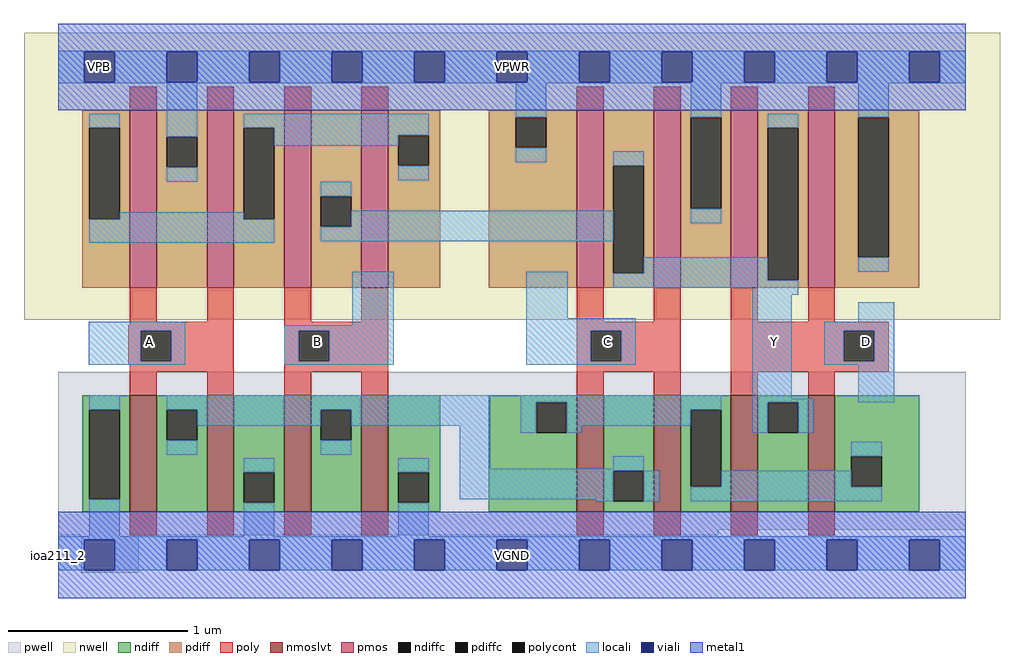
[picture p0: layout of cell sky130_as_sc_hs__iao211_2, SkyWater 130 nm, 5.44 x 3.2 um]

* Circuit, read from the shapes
.subckt sky130_as_sc_hs__iao211_2 VNB VPB VPWR VGND A B C D Y
XM1 n1 A VGND VNB sky130_fd_pr__nfet_01v8_lvt w=0.65 l=0.15 m=2
XM2 n1 B VGND VNB sky130_fd_pr__nfet_01v8_lvt w=0.65 l=0.15 m=2
XM3 n1 C n2 VNB sky130_fd_pr__nfet_01v8_lvt w=0.65 l=0.15 m=2
XM4 Y D n2 VNB sky130_fd_pr__nfet_01v8_lvt w=0.65 l=0.15 m=2
XM5 VPWR A n3 VPB sky130_fd_pr__pfet_01v8 w=0.99 l=0.15 m=2
XM6 Y B n3 VPB sky130_fd_pr__pfet_01v8 w=0.99 l=0.15 m=2
XM7 Y C VPWR VPB sky130_fd_pr__pfet_01v8 w=0.99 l=0.15 m=2
XM8 Y D VPWR VPB sky130_fd_pr__pfet_01v8 w=0.99 l=0.15 m=2
.ends

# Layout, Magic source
magic
tech sky130A
magscale 1 2
<< nwell >>
rect -38 262 1050 582
<< pwell >>
rect 0 28 1012 204
rect 0 22 736 28
rect 750 22 780 28
rect 836 22 866 28
rect 26 -20 90 22
<< pmos >>
rect 80 298 110 496
rect 166 298 196 496
rect 252 298 282 496
rect 338 298 368 496
rect 578 298 608 496
rect 664 298 694 496
rect 750 298 780 496
rect 836 298 866 496
<< nmoslvt >>
rect 80 48 110 178
rect 166 48 196 178
rect 252 48 282 178
rect 338 48 368 178
rect 578 48 608 178
rect 664 48 694 178
rect 750 48 780 178
rect 836 48 866 178
<< ndiff >>
rect 27 162 80 178
rect 27 62 35 162
rect 69 62 80 162
rect 27 48 80 62
rect 110 162 166 178
rect 110 128 121 162
rect 155 128 166 162
rect 110 48 166 128
rect 196 92 252 178
rect 196 58 207 92
rect 241 58 252 92
rect 196 48 252 58
rect 282 162 338 178
rect 282 128 293 162
rect 327 128 338 162
rect 282 48 338 128
rect 368 92 426 178
rect 368 58 379 92
rect 413 58 426 92
rect 368 48 426 58
rect 480 170 578 178
rect 480 136 533 170
rect 567 136 578 170
rect 480 49 578 136
rect 481 48 578 49
rect 608 94 664 178
rect 608 60 619 94
rect 653 60 664 94
rect 608 48 664 60
rect 694 162 750 178
rect 694 76 705 162
rect 739 76 750 162
rect 694 48 750 76
rect 780 170 836 178
rect 780 136 791 170
rect 825 136 836 170
rect 780 48 836 136
rect 866 110 960 178
rect 866 76 884 110
rect 918 76 960 110
rect 866 48 960 76
<< pdiff >>
rect 27 476 80 496
rect 27 374 35 476
rect 69 374 80 476
rect 27 298 80 374
rect 110 466 166 496
rect 110 432 121 466
rect 155 432 166 466
rect 110 298 166 432
rect 196 476 252 496
rect 196 374 207 476
rect 241 374 252 476
rect 196 298 252 374
rect 282 400 338 496
rect 282 366 293 400
rect 327 366 338 400
rect 282 298 338 366
rect 368 468 426 496
rect 368 434 379 468
rect 413 434 426 468
rect 368 298 426 434
rect 480 488 578 496
rect 480 454 510 488
rect 544 454 578 488
rect 480 298 578 454
rect 608 434 664 496
rect 608 314 619 434
rect 653 314 664 434
rect 608 298 664 314
rect 694 488 750 496
rect 694 386 705 488
rect 739 386 750 488
rect 694 298 750 386
rect 780 476 836 496
rect 780 306 791 476
rect 825 306 836 476
rect 780 298 836 306
rect 866 488 960 496
rect 866 332 892 488
rect 926 332 960 488
rect 866 298 960 332
<< ndiffc >>
rect 35 62 69 162
rect 121 128 155 162
rect 207 58 241 92
rect 293 128 327 162
rect 379 58 413 92
rect 533 136 567 170
rect 619 60 653 94
rect 705 76 739 162
rect 791 136 825 170
rect 884 76 918 110
<< pdiffc >>
rect 35 374 69 476
rect 121 432 155 466
rect 207 374 241 476
rect 293 366 327 400
rect 379 434 413 468
rect 510 454 544 488
rect 619 314 653 434
rect 705 386 739 488
rect 791 306 825 476
rect 892 332 926 488
<< poly >>
rect 80 496 110 522
rect 166 496 196 522
rect 252 496 282 522
rect 338 496 368 522
rect 578 496 608 522
rect 664 496 694 522
rect 750 496 780 522
rect 836 496 866 522
rect 80 260 110 298
rect 166 260 196 298
rect 80 256 196 260
rect 78 250 196 256
rect 78 216 92 250
rect 126 216 196 250
rect 78 212 196 216
rect 80 204 196 212
rect 80 178 110 204
rect 166 178 196 204
rect 252 260 282 298
rect 338 260 368 298
rect 252 250 368 260
rect 252 216 268 250
rect 302 216 368 250
rect 252 204 368 216
rect 252 178 282 204
rect 338 178 368 204
rect 578 260 608 298
rect 664 260 694 298
rect 578 250 694 260
rect 578 216 594 250
rect 628 216 694 250
rect 578 204 694 216
rect 578 178 608 204
rect 664 178 694 204
rect 750 260 780 298
rect 836 260 866 298
rect 750 250 926 260
rect 750 216 876 250
rect 910 216 926 250
rect 750 204 926 216
rect 750 178 780 204
rect 836 178 866 204
rect 80 22 110 48
rect 166 22 196 48
rect 252 22 282 48
rect 338 22 368 48
rect 578 22 608 48
rect 664 22 694 48
rect 750 22 780 48
rect 836 22 866 48
<< polycont >>
rect 92 216 126 250
rect 268 216 302 250
rect 594 216 628 250
rect 876 216 910 250
<< locali >>
rect 0 561 1012 562
rect 0 527 29 561
rect 63 527 121 561
rect 155 527 213 561
rect 247 527 305 561
rect 339 527 397 561
rect 431 527 489 561
rect 523 527 581 561
rect 615 527 673 561
rect 707 527 765 561
rect 799 527 857 561
rect 891 527 949 561
rect 983 527 1012 561
rect 0 526 1012 527
rect 35 476 69 492
rect 121 466 155 526
rect 121 416 155 432
rect 207 476 413 492
rect 69 374 207 382
rect 241 468 413 476
rect 241 456 379 468
rect 510 488 544 526
rect 510 438 544 454
rect 705 488 739 526
rect 379 418 413 434
rect 619 434 653 450
rect 35 348 241 374
rect 293 400 327 416
rect 327 366 619 384
rect 293 350 619 366
rect 34 250 142 260
rect 328 256 374 316
rect 34 216 92 250
rect 126 216 142 250
rect 34 212 142 216
rect 252 250 374 256
rect 252 216 268 250
rect 302 216 374 250
rect 252 212 374 216
rect 522 264 568 316
rect 705 370 739 386
rect 791 476 825 492
rect 653 314 791 332
rect 619 306 791 314
rect 892 488 926 526
rect 892 316 926 332
rect 619 298 825 306
rect 774 290 825 298
rect 522 250 644 264
rect 522 216 594 250
rect 628 216 644 250
rect 522 212 644 216
rect 35 162 69 178
rect 121 162 482 178
rect 155 144 293 162
rect 121 112 155 128
rect 327 144 482 162
rect 293 112 327 128
rect 35 21 69 62
rect 207 92 241 108
rect 207 21 241 58
rect 379 92 413 108
rect 448 96 482 144
rect 516 170 739 178
rect 516 136 533 170
rect 567 162 739 170
rect 567 144 705 162
rect 567 136 583 144
rect 619 96 653 110
rect 448 94 653 96
rect 448 62 619 94
rect 600 60 619 62
rect 653 60 670 94
rect 774 174 818 290
rect 892 260 932 282
rect 854 250 932 260
rect 854 216 876 250
rect 910 216 932 250
rect 854 212 932 216
rect 774 170 842 174
rect 892 170 932 212
rect 774 136 791 170
rect 825 136 842 170
rect 884 110 918 126
rect 739 76 884 94
rect 705 60 918 76
rect 379 21 413 58
rect 0 17 1012 21
rect 0 -17 29 17
rect 63 -17 121 17
rect 155 -17 213 17
rect 247 -17 305 17
rect 339 -17 397 17
rect 431 -17 489 17
rect 523 -17 581 17
rect 615 -17 673 17
rect 707 -17 765 17
rect 799 -17 857 17
rect 891 -17 949 17
rect 983 -17 1012 17
<< viali >>
rect 29 527 63 561
rect 121 527 155 561
rect 213 527 247 561
rect 305 527 339 561
rect 397 527 431 561
rect 489 527 523 561
rect 581 527 615 561
rect 673 527 707 561
rect 765 527 799 561
rect 857 527 891 561
rect 949 527 983 561
rect 29 -17 63 17
rect 121 -17 155 17
rect 213 -17 247 17
rect 305 -17 339 17
rect 397 -17 431 17
rect 489 -17 523 17
rect 581 -17 615 17
rect 673 -17 707 17
rect 765 -17 799 17
rect 857 -17 891 17
rect 949 -17 983 17
<< metal1 >>
rect 0 561 1012 592
rect 0 527 29 561
rect 63 527 121 561
rect 155 527 213 561
rect 247 527 305 561
rect 339 527 397 561
rect 431 527 489 561
rect 523 527 581 561
rect 615 527 673 561
rect 707 527 765 561
rect 799 527 857 561
rect 891 527 949 561
rect 983 527 1012 561
rect 0 496 1012 527
rect 0 17 1012 48
rect 0 -17 29 17
rect 63 -17 121 17
rect 155 -17 213 17
rect 247 -17 305 17
rect 339 -17 397 17
rect 431 -17 489 17
rect 523 -17 581 17
rect 615 -17 673 17
rect 707 -17 765 17
rect 799 -17 857 17
rect 891 -17 949 17
rect 983 -17 1012 17
rect 0 -48 1012 -17
<< labels >>
rlabel comment s 0 0 0 0 4 ioa211_2
flabel pwell s 29 -17 63 17 0 FreeSans 200 0 0 0 VNB
port 1 nsew ground bidirectional
flabel pwell s 46 0 46 0 0 FreeSans 200 0 0 0 VNB
flabel nwell s 29 527 63 561 0 FreeSans 200 0 0 0 VPB
port 2 nsew power bidirectional
flabel nwell s 46 544 46 544 0 FreeSans 200 0 0 0 VPB
flabel metal1 s 29 527 63 561 0 FreeSans 200 0 0 0 VPWR
port 3 nsew power bidirectional abutment
flabel metal1 s 29 -17 63 17 0 FreeSans 200 0 0 0 VGND
port 4 nsew ground bidirectional abutment
rlabel metal1 s 0 -48 1012 48 1 VGND
port 4 nsew ground bidirectional abutment
rlabel metal1 s 0 496 1012 592 1 VPWR
port 3 nsew power bidirectional abutment
flabel locali 85 221 119 255 0 FreeSans 200 0 0 0 A
port 5 nsew signal input
flabel polycont 102 238 102 238 0 FreeSans 200 0 0 0 A
flabel locali 272 221 306 255 0 FreeSans 200 0 0 0 B
port 6 nsew signal input
flabel locali 289 238 289 238 0 FreeSans 200 0 0 0 B
flabel locali 595 221 629 255 0 FreeSans 200 0 0 0 C
port 7 nsew signal input
flabel locali 782 221 816 255 0 FreeSans 200 0 0 0 Y
port 9 nsew signal output
flabel locali 799 238 799 238 0 FreeSans 200 0 0 0 Y
flabel locali 884 221 918 255 0 FreeSans 200 0 0 0 D
port 8 nsew signal input
flabel polycont 612 238 612 238 0 FreeSans 200 0 0 0 C
flabel polycont 901 238 901 238 0 FreeSans 200 0 0 0 D
<< properties >>
string FIXED_BBOX 0 0 1012 544
string GDS_FILE $PDKPATH/libs.ref/sky130_as_sc_hs/gds/sky130_as_sc_hs__ioa211_2.gds
string LEFclass CORE
string LEFsite unithd
string LEFsymmetry X Y R90
string MASKHINTS_LVTN 0 -4 1012 214
string MASKHINTS_NSDM 0 -38 1012 204
string MASKHINTS_PSDM 0 272 1012 582
<< end >>
